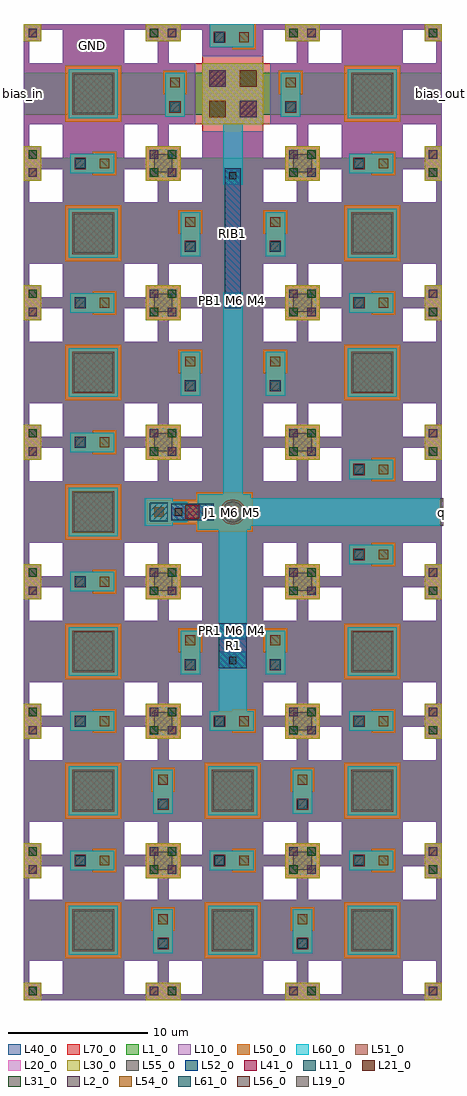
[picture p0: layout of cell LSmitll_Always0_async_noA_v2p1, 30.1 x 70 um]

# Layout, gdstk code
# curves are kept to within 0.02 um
from math import pi, radians
import gdstk
lib = gdstk.Library(unit=1e-6, precision=1e-09)
def R(c, l, rs):  # rectangles x0, y0, x1, y1
    for r in rs: c.add(gdstk.rectangle(r[:2], r[2:], *l))
def P(c, l, *ps):  # polygons
    for p in ps: c.add(gdstk.Polygon(p, *l))
L1_0 = (1, 0)
L2_0 = (2, 0)
L10_0 = (10, 0)
L11_0 = (11, 0)
L19_0 = (19, 0)
L20_0 = (20, 0)
L21_0 = (21, 0)
L30_0 = (30, 0)
L31_0 = (31, 0)
L40_0 = (40, 0)
L41_0 = (41, 0)
L50_0 = (50, 0)
L51_0 = (51, 0)
L52_0 = (52, 0)
L54_0 = (54, 0)
L55_0 = (55, 0)
L56_0 = (56, 0)
L60_0 = (60, 0)
L61_0 = (61, 0)
L70_0 = (70, 0)

ls_conn_m4m5m6m7 = lib.new_cell('ls_conn_M4M5M6M7')
R(ls_conn_m4m5m6m7, L40_0, [(0,0,1.4,1.4)])
R(ls_conn_m4m5m6m7, L41_0, [(0.3,0.3,1.1,1.1)])
P(ls_conn_m4m5m6m7, L50_0, [(1.6,-0.15),(1.6,0),(0,0),(0,1.4),(1.6,1.4),(1.6,1.55),(3.3,1.55),(3.3,-0.15)])
R(ls_conn_m4m5m6m7, L54_0, [(2.1,0.35,2.8,1.05)])
R(ls_conn_m4m5m6m7, L60_0, [(0,0,3.15,1.4)])
R(ls_conn_m4m5m6m7, L61_0, [(0.35,0.35,1.05,1.05)])
R(ls_conn_m4m5m6m7, L70_0, [(0,0,1.4,1.4)])

ls_fakejj_3umx3um = lib.new_cell('ls_FakeJJ_3umx3um')
R(ls_fakejj_3umx3um, L40_0, [(-2,-2,2,2)])
R(ls_fakejj_3umx3um, L50_0, [(-2,-2,2,2)])
R(ls_fakejj_3umx3um, L51_0, [(-1.5,-1.5,1.5,1.5)])
R(ls_fakejj_3umx3um, L55_0, [(-1.4,-1.4,1.4,1.4)])
R(ls_fakejj_3umx3um, L60_0, [(-1.75,-1.75,1.75,1.75)])

ls_tr_m0 = lib.new_cell('ls_tr_M0')
P(ls_tr_m0, L1_0, [(0,0),(0,10),(1.25,10),(1.25,8.75),(0.4,8.75),(0.4,1.25),(1.25,1.25),(1.25,0.4),(2.8,0.4),(2.8,2.8),(0.4,2.8),(0.4,7.2),(2.8,7.2),(2.8,9.6),(1.25,9.6),(1.25,10),(7.2,10),(7.2,0.4),(8.75,0.4),(8.75,1.25),(9.6,1.25),(9.6,2.8),(7.2,2.8),(7.2,7.2),(9.6,7.2),(9.6,8.75),(8.75,8.75),(8.75,9.6),(7.2,9.6),(7.2,10),(10,10),(10,0)])

ls_ib_175 = lib.new_cell('ls_ib_175')
R(ls_ib_175, L52_0, [(-0.575,0,0.575,10.05)])
R(ls_ib_175, L56_0, [(-0.26,0.29,0.26,0.81), (-0.26,9.26,0.26,9.78)])
R(ls_ib_175, L60_0, [(-0.625,-0.1,0.625,1.175), (-0.625,8.875,0.625,10.15)])

ls_conn_m5m6m7 = lib.new_cell('ls_conn_M5M6M7')
R(ls_conn_m5m6m7, L50_0, [(-0.5,-0.5,1.2,1.2)])
R(ls_conn_m5m6m7, L54_0, [(0,0,0.7,0.7)])
R(ls_conn_m5m6m7, L60_0, [(-0.65,-0.65,1.35,1.35)])
R(ls_conn_m5m6m7, L61_0, [(-0.3,-0.3,1,1)])
R(ls_conn_m5m6m7, L70_0, [(-0.65,-0.65,1.35,1.35)])

ls_jj_250_sg = lib.new_cell('ls_jj_250_sg')
R(ls_jj_250_sg, L41_0, [(-0.5,2.4,0.5,3.4)])
R(ls_jj_250_sg, L50_0, [(-1.425,-1.425,1.425,2.625), (-0.875,2.625,0.875,6.175)])
P(ls_jj_250_sg, L51_0, [(0,-0.91),(-0.18,-0.895),(-0.35,-0.84),(-0.645,-0.645),(-0.84,-0.35),(-0.91,0),(-0.895,0.18),(-0.84,0.35),(-0.645,0.645),(-0.35,0.84),(-0.18,0.895),(0,0.91),(0.18,0.895),(0.35,0.84),(0.645,0.645),(0.84,0.35),(0.895,0.18),(0.91,0),(0.84,-0.35),(0.645,-0.645),(0.35,-0.84),(0.18,-0.895)])
R(ls_jj_250_sg, L52_0, [(-0.575,1.35,0.575,4.425)])
R(ls_jj_250_sg, L54_0, [(-0.35,4.95,0.35,5.65)])
P(ls_jj_250_sg, L55_0, [(0,-0.76),(-0.15,-0.75),(-0.29,-0.7),(-0.54,-0.54),(-0.7,-0.29),(-0.75,-0.15),(-0.76,0),(-0.75,0.15),(-0.7,0.29),(-0.54,0.54),(-0.29,0.7),(-0.15,0.75),(0,0.76),(0.15,0.75),(0.29,0.7),(0.54,0.54),(0.7,0.29),(0.75,0.15),(0.76,0),(0.75,-0.15),(0.7,-0.29),(0.54,-0.54),(0.29,-0.7),(0.15,-0.75)])
R(ls_jj_250_sg, L56_0, [(-0.26,1.64,0.26,2.16), (-0.26,3.63,0.26,4.15)])
R(ls_jj_250_sg, L60_0, [(-1.275,-1.275,1.275,2.525), (-0.725,3.25,0.725,6.025)])
ls_jj_250_sg.add(gdstk.Reference(ls_conn_m5m6m7, (-0.35,4.95)))

ls_tr_m7 = lib.new_cell('ls_tr_M7')
P(ls_tr_m7, L70_0, [(0,0),(0,10),(1.25,10),(1.25,8.75),(0.4,8.75),(0.4,1.25),(1.25,1.25),(1.25,0.4),(2.8,0.4),(2.8,2.8),(0.4,2.8),(0.4,7.2),(2.8,7.2),(2.8,9.6),(1.25,9.6),(1.25,10),(7.2,10),(7.2,0.4),(8.75,0.4),(8.75,1.25),(9.6,1.25),(9.6,2.8),(7.2,2.8),(7.2,7.2),(9.6,7.2),(9.6,8.75),(8.75,8.75),(8.75,9.6),(7.2,9.6),(7.2,10),(10,10),(10,0)])

ls_tr_u_m4_alt = lib.new_cell('ls_tr_u_M4_alt')
R(ls_tr_u_m4_alt, L1_0, [(0,0,1.25,1.25), (8.75,0,10,1.25), (0,8.75,1.25,10), (8.75,8.75,10,10)])
R(ls_tr_u_m4_alt, L2_0, [(9.05,0.35,9.65,0.95), (0.35,9.05,0.95,9.65)])
R(ls_tr_u_m4_alt, L10_0, [(0,0,1.25,1.25), (1.25,0,8.75,0.4), (8.75,0,10,1.25), (2.8,0.4,7.2,9.6), (0,1.25,0.4,8.75), (9.6,1.25,10,8.75), (0.4,2.8,2.8,7.2), (7.2,2.8,9.6,7.2), (0,8.75,1.25,10), (8.75,8.75,10,10), (1.25,9.6,8.75,10)])
R(ls_tr_u_m4_alt, L11_0, [(0.35,0.35,0.95,0.95), (9.05,9.05,9.65,9.65)])
R(ls_tr_u_m4_alt, L20_0, [(0,0,1.25,1.25), (8.75,0,10,1.25), (0,8.75,1.25,10), (8.75,8.75,10,10)])
R(ls_tr_u_m4_alt, L21_0, [(9.05,0.35,9.65,0.95), (0.35,9.05,0.95,9.65)])
R(ls_tr_u_m4_alt, L30_0, [(0,0,1.25,1.25), (8.75,0,10,1.25), (0,8.75,1.25,10), (8.75,8.75,10,10)])
R(ls_tr_u_m4_alt, L31_0, [(0.35,0.35,0.95,0.95), (9.05,9.05,9.65,9.65)])
P(ls_tr_u_m4_alt, L40_0, [(0,0),(0,10),(1.25,10),(1.25,8.75),(0.4,8.75),(0.4,1.25),(1.25,1.25),(1.25,0.4),(2.8,0.4),(2.8,2.8),(0.4,2.8),(0.4,7.2),(2.8,7.2),(2.8,9.6),(1.25,9.6),(1.25,10),(7.2,10),(7.2,0.4),(8.75,0.4),(8.75,1.25),(9.6,1.25),(9.6,2.8),(7.2,2.8),(7.2,7.2),(9.6,7.2),(9.6,8.75),(8.75,8.75),(8.75,9.6),(7.2,9.6),(7.2,10),(10,10),(10,0)])
ls_tr_u_m4_alt.add(gdstk.Reference(ls_tr_m7, (0,0)))

ls_res_2 = lib.new_cell('ls_res_2')
R(ls_res_2, L52_0, [(-1,0,1,3.225)])
R(ls_res_2, L56_0, [(-0.26,0.29,0.26,0.81), (-0.26,2.44,0.26,2.96)])
R(ls_res_2, L60_0, [(-0.625,-0.1,0.625,1.175), (-0.625,2.075,0.625,3.325)])

ls_tr_bias_pillar_m0m6 = lib.new_cell('ls_tr_bias_pillar_M0M6')
R(ls_tr_bias_pillar_m0m6, L1_0, [(0,0,1.25,1.25), (8.75,0,10,1.25), (2.8,2.8,7.2,7.2), (0,8.75,1.25,10), (8.75,8.75,10,10)])
R(ls_tr_bias_pillar_m0m6, L2_0, [(9.05,0.35,9.65,0.95), (5.5,3.3,6.7,4.5), (3.3,5.5,4.5,6.7), (0.35,9.05,0.95,9.65)])
R(ls_tr_bias_pillar_m0m6, L10_0, [(0,0,1.25,1.25), (8.75,0,10,1.25), (2.8,2.8,7.2,7.2), (0,8.75,1.25,10), (8.75,8.75,10,10)])
P(ls_tr_bias_pillar_m0m6, L10_0, [(0,0),(0,10),(7.2,10),(7.2,7.7),(2.8,7.7),(2.8,9.6),(1.25,9.6),(1.25,8.75),(0.4,8.75),(0.4,7.2),(2.3,7.2),(2.3,2.8),(0.4,2.8),(0.4,1.25),(1.25,1.25),(1.25,0.4),(2.8,0.4),(2.8,2.3),(7.2,2.3),(7.2,0.4),(8.75,0.4),(8.75,1.25),(9.6,1.25),(9.6,2.8),(7.7,2.8),(7.7,7.2),(9.6,7.2),(9.6,8.75),(8.75,8.75),(8.75,9.6),(7.2,9.6),(7.2,10),(10,10),(10,0)])
R(ls_tr_bias_pillar_m0m6, L11_0, [(0.35,0.35,0.95,0.95), (3.3,3.3,4.5,4.5), (5.5,5.5,6.7,6.7), (9.05,9.05,9.65,9.65)])
R(ls_tr_bias_pillar_m0m6, L20_0, [(0,0,1.25,1.25), (8.75,0,10,1.25), (2.8,2.8,7.2,7.2), (0,8.75,1.25,10), (8.75,8.75,10,10)])
R(ls_tr_bias_pillar_m0m6, L21_0, [(9.05,0.35,9.65,0.95), (5.5,3.3,6.7,4.5), (3.3,5.5,4.5,6.7), (0.35,9.05,0.95,9.65)])
R(ls_tr_bias_pillar_m0m6, L30_0, [(0,0,1.25,1.25), (8.75,0,10,1.25), (2.8,2.8,7.2,7.2), (0,8.75,1.25,10), (8.75,8.75,10,10)])
R(ls_tr_bias_pillar_m0m6, L31_0, [(0.35,0.35,0.95,0.95), (3.3,3.3,4.5,4.5), (5.5,5.5,6.7,6.7), (9.05,9.05,9.65,9.65)])
R(ls_tr_bias_pillar_m0m6, L40_0, [(2.8,2.8,7.2,7.2)])
P(ls_tr_bias_pillar_m0m6, L40_0, [(0,0),(0,10),(7.2,10),(7.2,7.7),(2.8,7.7),(2.8,9.6),(1.25,9.6),(1.25,8.75),(0.4,8.75),(0.4,7.2),(2.3,7.2),(2.3,2.8),(0.4,2.8),(0.4,1.25),(1.25,1.25),(1.25,0.4),(2.8,0.4),(2.8,2.3),(7.2,2.3),(7.2,0.4),(8.75,0.4),(8.75,1.25),(9.6,1.25),(9.6,2.8),(7.7,2.8),(7.7,7.2),(9.6,7.2),(9.6,8.75),(8.75,8.75),(8.75,9.6),(7.2,9.6),(7.2,10),(10,10),(10,0)])
R(ls_tr_bias_pillar_m0m6, L41_0, [(5.5,3.3,6.7,4.5), (3.3,5.5,4.5,6.7)])
R(ls_tr_bias_pillar_m0m6, L50_0, [(2.8,2.8,7.2,7.2)])
R(ls_tr_bias_pillar_m0m6, L54_0, [(3.3,3.3,4.5,4.5), (5.5,5.5,6.7,6.7)])
R(ls_tr_bias_pillar_m0m6, L60_0, [(2.8,2.8,7.2,7.2)])
P(ls_tr_bias_pillar_m0m6, L70_0, [(0,0),(0,10),(1.25,10),(1.25,8.75),(0.4,8.75),(0.4,1.25),(1.25,1.25),(1.25,0.4),(2.8,0.4),(2.8,2.8),(0.4,2.8),(0.4,7.2),(2.8,7.2),(2.8,9.6),(1.25,9.6),(1.25,10),(7.2,10),(7.2,0.4),(8.75,0.4),(8.75,1.25),(9.6,1.25),(9.6,2.8),(7.2,2.8),(7.2,7.2),(9.6,7.2),(9.6,8.75),(8.75,8.75),(8.75,9.6),(7.2,9.6),(7.2,10),(10,10),(10,0)])

ls_fakejj_1p5x1p5um = lib.new_cell('ls_FakeJJ_1p5x1p5um')
R(ls_fakejj_1p5x1p5um, L40_0, [(-1.25,-1.25,1.25,1.25)])
R(ls_fakejj_1p5x1p5um, L50_0, [(-1.25,-1.25,1.25,1.25)])
R(ls_fakejj_1p5x1p5um, L51_0, [(-0.75,-0.75,0.75,0.75)])
R(ls_fakejj_1p5x1p5um, L55_0, [(-0.65,-0.65,0.65,0.65)])
R(ls_fakejj_1p5x1p5um, L60_0, [(-1,-1,1,1)])

lsmitll_always0_async_no = lib.new_cell('LSmitll_Always0_async_noA_v2p1')
R(lsmitll_always0_async_no, L1_0, [(1.25,60,28.75,60.4)])
R(lsmitll_always0_async_no, L19_0, [(14.74,26.24,15.26,26.76), (14.74,49.89,15.26,50.41)])
R(lsmitll_always0_async_no, L50_0, [(13.35,69.75,16.65,70)])
R(lsmitll_always0_async_no, L60_0, [(13.35,69.75,16.5,70)])
lsmitll_always0_async_no.add(gdstk.FlexPath([(15,33.75),(15,25.875)], 2, ends="flush", simple_path=True, layer=60, datatype=0))  # L60_0
lsmitll_always0_async_no.add(gdstk.FlexPath([(16.25,35),(30,35)], 2, ends="flush", simple_path=True, layer=60, datatype=0))  # L60_0
lsmitll_always0_async_no.add(gdstk.FlexPath([(15,24.975),(15,20)], 2, ends="flush", simple_path=True, layer=60, datatype=0))  # L60_0
lsmitll_always0_async_no.add(gdstk.FlexPath([(15,36.25),(15,50.775)], 1.4, ends="flush", simple_path=True, layer=60, datatype=0))  # L60_0
lsmitll_always0_async_no.add(gdstk.FlexPath([(15,65),(15,58.475)], 1.4, ends="flush", simple_path=True, layer=60, datatype=0))  # L60_0
lsmitll_always0_async_no.add(gdstk.FlexPath([(0,65),(30,65)], 3, ends="flush", simple_path=True, layer=1, datatype=0))  # L1_0
lsmitll_always0_async_no.add(gdstk.FlexPath([(30,34),(30,36)], 0.2, ends="flush", simple_path=True, layer=19, datatype=0))  # L19_0
lsmitll_always0_async_no.add(gdstk.Reference(ls_conn_m4m5m6m7, (3.35,39.3)))
lsmitll_always0_async_no.add(gdstk.Reference(ls_conn_m4m5m6m7, (3.35,29.3)))
lsmitll_always0_async_no.add(gdstk.Reference(ls_conn_m4m5m6m7, (3.35,59.3)))
lsmitll_always0_async_no.add(gdstk.Reference(ls_conn_m4m5m6m7, (23.35,59.3)))
lsmitll_always0_async_no.add(gdstk.Reference(ls_conn_m4m5m6m7, (23.35,49.3)))
lsmitll_always0_async_no.add(gdstk.Reference(ls_conn_m4m5m6m7, (3.35,49.3)))
lsmitll_always0_async_no.add(gdstk.Reference(ls_conn_m4m5m6m7, (3.35,19.3)))
lsmitll_always0_async_no.add(gdstk.Reference(ls_conn_m4m5m6m7, (3.35,9.3)))
lsmitll_always0_async_no.add(gdstk.Reference(ls_conn_m4m5m6m7, (13.35,9.3)))
lsmitll_always0_async_no.add(gdstk.Reference(ls_conn_m4m5m6m7, (23.35,9.3)))
lsmitll_always0_async_no.add(gdstk.Reference(ls_conn_m4m5m6m7, (23.35,19.3)))
lsmitll_always0_async_no.add(gdstk.Reference(ls_conn_m4m5m6m7, (23.35,37.35)))
lsmitll_always0_async_no.add(gdstk.Reference(ls_fakejj_3umx3um, (5,65)))
lsmitll_always0_async_no.add(gdstk.Reference(ls_fakejj_3umx3um, (5,55)))
lsmitll_always0_async_no.add(gdstk.Reference(ls_fakejj_3umx3um, (5,45)))
lsmitll_always0_async_no.add(gdstk.Reference(ls_fakejj_3umx3um, (5,35)))
lsmitll_always0_async_no.add(gdstk.Reference(ls_fakejj_3umx3um, (5,25)))
lsmitll_always0_async_no.add(gdstk.Reference(ls_tr_m0, (20,50)))
lsmitll_always0_async_no.add(gdstk.Reference(ls_tr_m0, (10,50)))
lsmitll_always0_async_no.add(gdstk.Reference(ls_tr_m0, (0,50)))
lsmitll_always0_async_no.add(gdstk.Reference(ls_tr_m0, (0,40)))
lsmitll_always0_async_no.add(gdstk.Reference(ls_tr_m0, (10,40)))
lsmitll_always0_async_no.add(gdstk.Reference(ls_tr_m0, (20,40)))
lsmitll_always0_async_no.add(gdstk.Reference(ls_tr_m0, (20,30)))
lsmitll_always0_async_no.add(gdstk.Reference(ls_tr_m0, (10,30)))
lsmitll_always0_async_no.add(gdstk.Reference(ls_tr_m0, (0,30)))
lsmitll_always0_async_no.add(gdstk.Reference(ls_tr_m0, (10,20)))
lsmitll_always0_async_no.add(gdstk.Reference(ls_tr_m0, (20,20)))
lsmitll_always0_async_no.add(gdstk.Reference(ls_conn_m4m5m6m7, (10.7,3.35), rotation=pi/2))
lsmitll_always0_async_no.add(gdstk.Reference(ls_conn_m4m5m6m7, (20.7,3.35), rotation=pi/2))
lsmitll_always0_async_no.add(gdstk.Reference(ls_conn_m4m5m6m7, (20.7,13.35), rotation=pi/2))
lsmitll_always0_async_no.add(gdstk.Reference(ls_conn_m4m5m6m7, (10.7,13.35), rotation=pi/2))
lsmitll_always0_async_no.add(gdstk.Reference(ls_fakejj_3umx3um, (25,55)))
lsmitll_always0_async_no.add(gdstk.Reference(ls_fakejj_3umx3um, (25,65)))
lsmitll_always0_async_no.add(gdstk.Reference(ls_fakejj_3umx3um, (25,25)))
lsmitll_always0_async_no.add(gdstk.Reference(ls_fakejj_3umx3um, (25,15)))
lsmitll_always0_async_no.add(gdstk.Reference(ls_fakejj_3umx3um, (15,15)))
lsmitll_always0_async_no.add(gdstk.Reference(ls_fakejj_3umx3um, (5,15)))
lsmitll_always0_async_no.add(gdstk.Reference(ls_conn_m4m5m6m7, (13.35,68.35)))
lsmitll_always0_async_no.add(gdstk.Reference(ls_conn_m4m5m6m7, (18.75,23.35), rotation=pi/2))
lsmitll_always0_async_no.add(gdstk.Reference(ls_conn_m4m5m6m7, (12.65,23.35), rotation=pi/2))
lsmitll_always0_async_no.add(gdstk.Reference(ls_conn_m4m5m6m7, (12.65,53.35), rotation=pi/2))
lsmitll_always0_async_no.add(gdstk.Reference(ls_conn_m4m5m6m7, (18.75,53.35), rotation=pi/2))
lsmitll_always0_async_no.add(gdstk.Reference(ls_conn_m4m5m6m7, (19.85,63.35), rotation=pi/2))
lsmitll_always0_async_no.add(gdstk.Reference(ls_conn_m4m5m6m7, (11.55,63.35), rotation=pi/2))
lsmitll_always0_async_no.add(gdstk.Reference(ls_conn_m4m5m6m7, (12.65,43.35), rotation=pi/2))
lsmitll_always0_async_no.add(gdstk.Reference(ls_conn_m4m5m6m7, (18.75,43.35), rotation=pi/2))
lsmitll_always0_async_no.add(gdstk.Reference(ls_conn_m4m5m6m7, (23.35,31.25)))
lsmitll_always0_async_no.add(gdstk.Reference(ls_conn_m4m5m6m7, (13.35,19.3)))
lsmitll_always0_async_no.add(gdstk.Reference(ls_ib_175, (15,49.6)))
lsmitll_always0_async_no.add(gdstk.Reference(ls_jj_250_sg, (15,35), rotation=pi/2))
lsmitll_always0_async_no.add(gdstk.Reference(ls_tr_u_m4_alt, (20,60)))
lsmitll_always0_async_no.add(gdstk.Reference(ls_tr_u_m4_alt, (20,50)))
lsmitll_always0_async_no.add(gdstk.Reference(ls_tr_u_m4_alt, (20,40)))
lsmitll_always0_async_no.add(gdstk.Reference(ls_tr_u_m4_alt, (20,30)))
lsmitll_always0_async_no.add(gdstk.Reference(ls_tr_u_m4_alt, (20,20)))
lsmitll_always0_async_no.add(gdstk.Reference(ls_tr_u_m4_alt, (20,10)))
lsmitll_always0_async_no.add(gdstk.Reference(ls_tr_u_m4_alt, (20,0)))
lsmitll_always0_async_no.add(gdstk.Reference(ls_tr_u_m4_alt, (10,0)))
lsmitll_always0_async_no.add(gdstk.Reference(ls_tr_u_m4_alt, (10,10)))
lsmitll_always0_async_no.add(gdstk.Reference(ls_tr_u_m4_alt, (10,20)))
lsmitll_always0_async_no.add(gdstk.Reference(ls_tr_u_m4_alt, (10,30)))
lsmitll_always0_async_no.add(gdstk.Reference(ls_tr_u_m4_alt, (10,40)))
lsmitll_always0_async_no.add(gdstk.Reference(ls_tr_u_m4_alt, (10,50)))
lsmitll_always0_async_no.add(gdstk.Reference(ls_tr_u_m4_alt, (0,60)))
lsmitll_always0_async_no.add(gdstk.Reference(ls_tr_u_m4_alt, (0,50)))
lsmitll_always0_async_no.add(gdstk.Reference(ls_tr_u_m4_alt, (0,40)))
lsmitll_always0_async_no.add(gdstk.Reference(ls_tr_u_m4_alt, (0,30)))
lsmitll_always0_async_no.add(gdstk.Reference(ls_tr_u_m4_alt, (0,10)))
lsmitll_always0_async_no.add(gdstk.Reference(ls_tr_u_m4_alt, (0,0)))
lsmitll_always0_async_no.add(gdstk.Reference(ls_res_2, (15,23.8)))
lsmitll_always0_async_no.add(gdstk.Reference(ls_tr_bias_pillar_m0m6, (10,60)))
lsmitll_always0_async_no.add(gdstk.Reference(ls_fakejj_1p5x1p5um, (10,60)))
lsmitll_always0_async_no.add(gdstk.Reference(ls_fakejj_1p5x1p5um, (20,60)))
lsmitll_always0_async_no.add(gdstk.Reference(ls_fakejj_1p5x1p5um, (20,50)))
lsmitll_always0_async_no.add(gdstk.Reference(ls_fakejj_1p5x1p5um, (10,50)))
lsmitll_always0_async_no.add(gdstk.Reference(ls_fakejj_1p5x1p5um, (10,40)))
lsmitll_always0_async_no.add(gdstk.Reference(ls_fakejj_1p5x1p5um, (20,40)))
lsmitll_always0_async_no.add(gdstk.Reference(ls_fakejj_1p5x1p5um, (20,30)))
lsmitll_always0_async_no.add(gdstk.Reference(ls_fakejj_1p5x1p5um, (10,30)))
lsmitll_always0_async_no.add(gdstk.Reference(ls_fakejj_1p5x1p5um, (10,20)))
lsmitll_always0_async_no.add(gdstk.Reference(ls_fakejj_1p5x1p5um, (20,20)))
lsmitll_always0_async_no.add(gdstk.Reference(ls_fakejj_1p5x1p5um, (20,10)))
lsmitll_always0_async_no.add(gdstk.Reference(ls_fakejj_1p5x1p5um, (10,10)))
lsmitll_always0_async_no.add(gdstk.Reference(ls_fakejj_3umx3um, (5,5)))
lsmitll_always0_async_no.add(gdstk.Reference(ls_fakejj_3umx3um, (15,5)))
lsmitll_always0_async_no.add(gdstk.Reference(ls_fakejj_3umx3um, (25,5)))
lsmitll_always0_async_no.add(gdstk.Reference(ls_tr_m0, (0,0)))
lsmitll_always0_async_no.add(gdstk.Reference(ls_tr_m0, (10,0)))
lsmitll_always0_async_no.add(gdstk.Reference(ls_tr_m0, (20,0)))
lsmitll_always0_async_no.add(gdstk.Reference(ls_tr_m0, (20,10)))
lsmitll_always0_async_no.add(gdstk.Reference(ls_tr_m0, (10,10)))
lsmitll_always0_async_no.add(gdstk.Reference(ls_tr_m0, (0,10)))
lsmitll_always0_async_no.add(gdstk.Reference(ls_tr_u_m4_alt, (0,20)))
lsmitll_always0_async_no.add(gdstk.Reference(ls_tr_m0, (0,20)))
lsmitll_always0_async_no.add(gdstk.Reference(ls_fakejj_3umx3um, (25,45)))
lsmitll_always0_async_no.add(gdstk.Label('q', (30,35), layer=182, texttype=0))
lsmitll_always0_async_no.add(gdstk.Label('bias_in', (0,65), layer=182, texttype=0))
lsmitll_always0_async_no.add(gdstk.Label('bias_out', (30,65), layer=182, texttype=0))
lsmitll_always0_async_no.add(gdstk.Label('P1 M6 M4', (30,35), layer=182, texttype=0))
lsmitll_always0_async_no.add(gdstk.Label('J1 M6 M5', (15,35), layer=182, texttype=0))
lsmitll_always0_async_no.add(gdstk.Label('PR1 M6 M4', (15,26.5), layer=182, texttype=0))
lsmitll_always0_async_no.add(gdstk.Label('PB1 M6 M4', (15,50.15), layer=182, texttype=0))
lsmitll_always0_async_no.add(gdstk.Label('VDD', (1.325,65.725), layer=1, texttype=1))
lsmitll_always0_async_no.add(gdstk.Label('GND', (4.925,68.45), layer=40, texttype=1))
lsmitll_always0_async_no.add(gdstk.Label('q', (29.95,34.1), layer=60, texttype=1))
lsmitll_always0_async_no.add(gdstk.Label('RIB1', (15,55), layer=52, texttype=1))
lsmitll_always0_async_no.add(gdstk.Label('RB1', (12.075,34.975), layer=52, texttype=1))
lsmitll_always0_async_no.add(gdstk.Label('R1', (15.025,25.425), layer=52, texttype=1))

lib.write_gds('LSmitll_Always0_async_noA_v2p1.gds')
